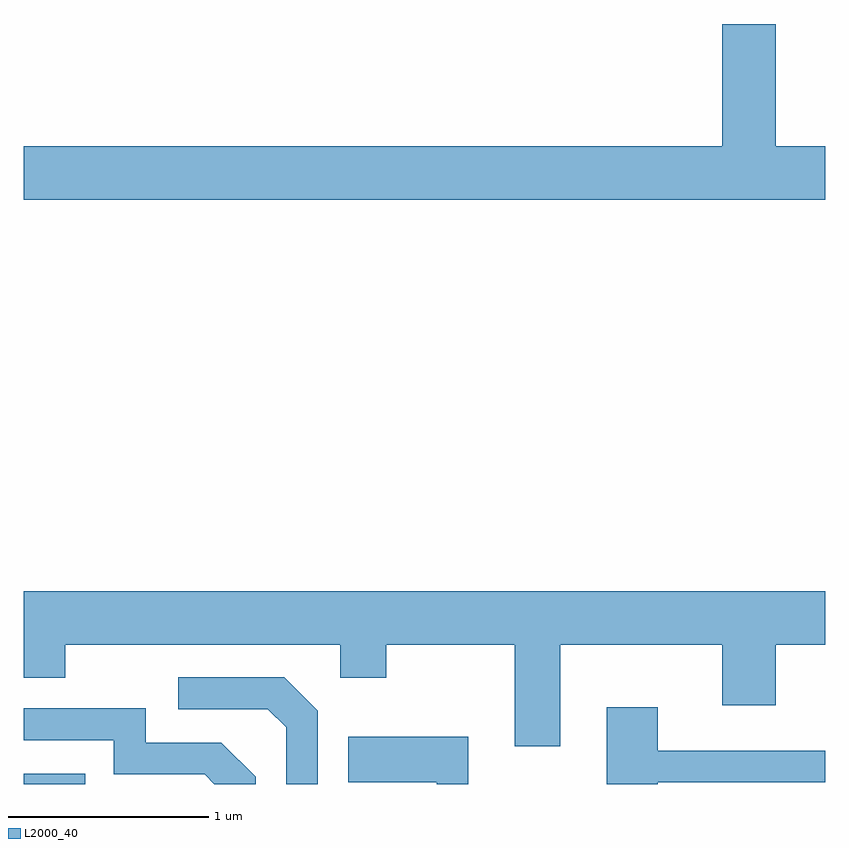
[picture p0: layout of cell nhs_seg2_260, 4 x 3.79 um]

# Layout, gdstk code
import gdstk
lib = gdstk.Library(unit=1e-6, precision=1e-09)
def R(c, l, rs):  # rectangles x0, y0, x1, y1
    for r in rs: c.add(gdstk.rectangle(r[:2], r[2:], *l))
def P(c, l, *ps):  # polygons
    for p in ps: c.add(gdstk.Polygon(p, *l))
L2000_40 = (2000, 40)

nhs_seg2_260 = lib.new_cell('nhs_seg2_260')
R(nhs_seg2_260, L2000_40, [(191.611,1089.802,191.918,1089.854)])
P(nhs_seg2_260, L2000_40, [(195.611,1092.984),(195.364,1092.984),(195.364,1093.594),(195.096,1093.594),(195.096,1092.984),(191.611,1092.984),(191.611,1092.716),(195.611,1092.716)],
  [(194.289,1090.496),(195.096,1090.496),(195.096,1090.196),(195.364,1090.196),(195.364,1090.496),(195.611,1090.496),(195.611,1090.764),(191.611,1090.764),(191.611,1090.331),(191.819,1090.331),(191.819,1090.496),(193.191,1090.496),(193.191,1090.331),(193.419,1090.331),(193.419,1090.496),(194.061,1090.496),(194.061,1089.991),(194.289,1089.991)],
  [(193.079,1090.167),(192.912,1090.334),(192.383,1090.334),(192.383,1090.176),(192.829,1090.176),(192.921,1090.084),(192.921,1089.802),(193.079,1089.802)],
  [(194.774,1089.811),(195.611,1089.811),(195.611,1089.969),(194.774,1089.969),(194.774,1090.184),(194.521,1090.184),(194.521,1089.802),(194.774,1089.802)],
  [(192.769,1089.837),(192.597,1090.009),(192.219,1090.009),(192.219,1090.179),(191.611,1090.179),(191.611,1090.021),(192.061,1090.021),(192.061,1089.851),(192.514,1089.851),(192.563,1089.802),(192.769,1089.802)],
  [(193.829,1090.039),(193.231,1090.039),(193.231,1089.811),(193.671,1089.811),(193.671,1089.802),(193.829,1089.802)])

lib.write_gds('nhs_seg2_260.gds')
